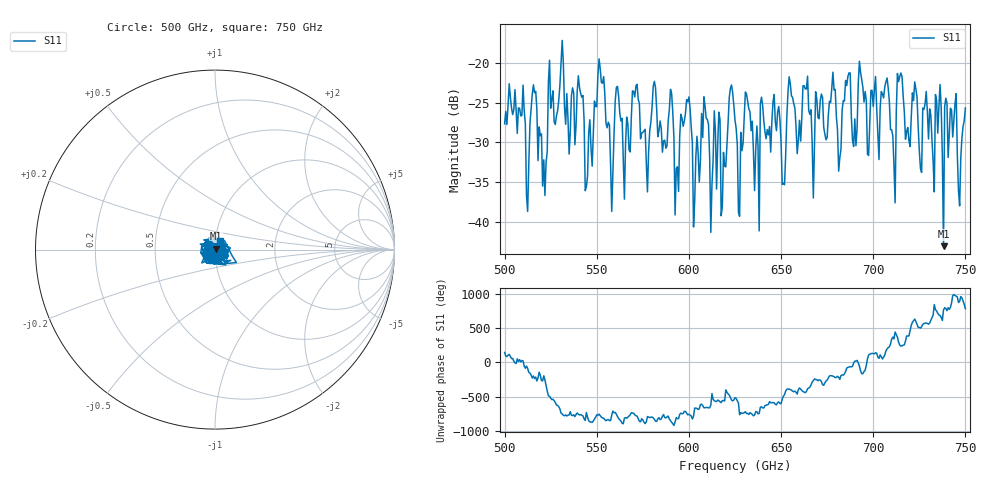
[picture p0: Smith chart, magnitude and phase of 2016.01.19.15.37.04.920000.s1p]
!Created with skrf (http://scikit-rf.org).
# GHz S RI R 50.0
!freq ReS11 ImS11
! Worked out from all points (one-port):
!   401 points, 500 GHz to 750 GHz, reference 50 ohm
!   lowest |S11| = -43.1 dB at 738.1 GHz (marker M1), VSWR 1.01, Z = 50.5 + j0.462 ohm
!   |S11| at or under -10 dB: start of sweep to end of sweep
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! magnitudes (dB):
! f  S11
! 500 GHz  -27.7
! 512.5 GHz  -38.7
! 516.2 GHz  -23.7
! 521.9 GHz  -36.7
! 525 GHz  -25.7
! 531.2 GHz  -17.1
! 541.2 GHz  -23.8
! 544.4 GHz  -35.6
! 551.9 GHz  -20.7
! 558.1 GHz  -38.7
! 562.5 GHz  -26.3
! 590 GHz  -23.3
! 593.8 GHz  -33.1
! 599.4 GHz  -24.9
! 603.8 GHz  -31.8
! 625 GHz  -27.2
! 627.5 GHz  -39.3
! 631.2 GHz  -23.9
! 647.5 GHz  -28.5
! 651.2 GHz  -35.1
! 656.2 GHz  -24.3
! 687.5 GHz  -21.2
! 707.5 GHz  -21.9
! 710.6 GHz  -29.2
! 714.4 GHz  -21.7
! 718.8 GHz  -28.1
! 738.1 GHz  -43.1
! 750 GHz  -25.6
